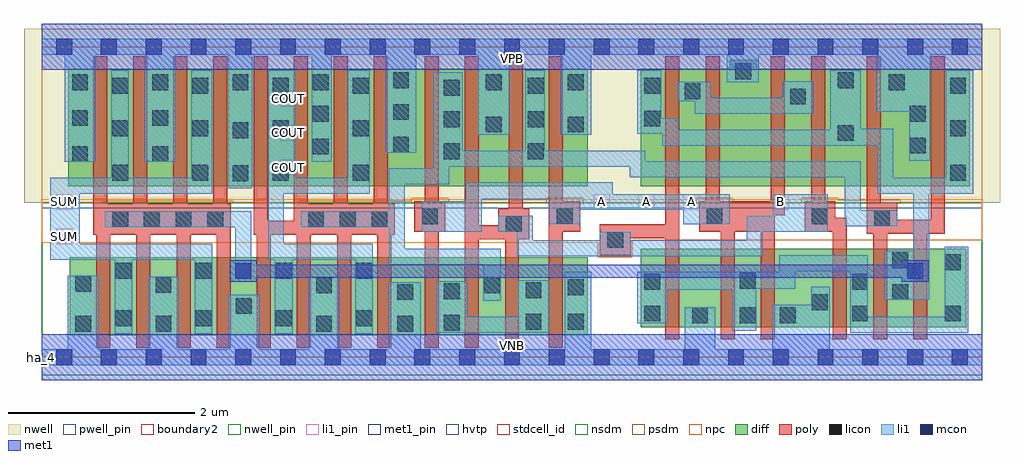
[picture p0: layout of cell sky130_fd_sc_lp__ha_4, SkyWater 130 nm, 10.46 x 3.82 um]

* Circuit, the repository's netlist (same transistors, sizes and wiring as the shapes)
* Copyright 2020 The SkyWater PDK Authors
*
* Licensed under the Apache License, Version 2.0 (the "License");
* you may not use this file except in compliance with the License.
* You may obtain a copy of the License at
*
*     https://www.apache.org/licenses/LICENSE-2.0
*
* Unless required by applicable law or agreed to in writing, software
* distributed under the License is distributed on an "AS IS" BASIS,
* WITHOUT WARRANTIES OR CONDITIONS OF ANY KIND, either express or implied.
* See the License for the specific language governing permissions and
* limitations under the License.
*
* SPDX-License-Identifier: Apache-2.0

.SUBCKT sky130_fd_sc_lp__ha_4 A B VGND VNB VPB VPWR COUT SUM
*.PININFO A:I B:I VGND:I VNB:I VPB:I VPWR:I COUT:O SUM:O
MMIN2 COUT majb VGND VNB sky130_fd_pr__nfet_01v8 m=4 w=0.84U l=0.15U mult=1 sa=0.265
+ sb=0.265 sd=0.28 area=0.063 perim=1.14
MMIN3 SUM sumb VGND VNB sky130_fd_pr__nfet_01v8 m=4 w=0.84U l=0.15U mult=1 sa=0.265
+ sb=0.265 sd=0.28 area=0.063 perim=1.14
MMNnand0 VGND A sndNA VNB sky130_fd_pr__nfet_01v8 m=2 w=0.84U l=0.15U mult=1 sa=0.265
+ sb=0.265 sd=0.28 area=0.063 perim=1.14
MMNnand1 sndNA B majb VNB sky130_fd_pr__nfet_01v8 m=2 w=0.84U l=0.15U mult=1 sa=0.265
+ sb=0.265 sd=0.28 area=0.063 perim=1.14
MMNs1 sumb majb nint1 VNB sky130_fd_pr__nfet_01v8 m=2 w=0.84U l=0.15U mult=1 sa=0.265
+ sb=0.265 sd=0.28 area=0.063 perim=1.14
MMNs20 VGND A nint1 VNB sky130_fd_pr__nfet_01v8 m=2 w=0.84U l=0.15U mult=1 sa=0.265
+ sb=0.265 sd=0.28 area=0.063 perim=1.14
MMNs21 VGND B nint1 VNB sky130_fd_pr__nfet_01v8 m=2 w=0.84U l=0.15U mult=1 sa=0.265
+ sb=0.265 sd=0.28 area=0.063 perim=1.14
MMIP2 COUT majb VPWR VPB sky130_fd_pr__pfet_01v8_hvt m=4 w=1.26U l=0.15U mult=1
+ sa=0.265 sb=0.265 sd=0.28 area=0.063 perim=1.14
MMIP3 SUM sumb VPWR VPB sky130_fd_pr__pfet_01v8_hvt m=4 w=1.26U l=0.15U mult=1
+ sa=0.265 sb=0.265 sd=0.28 area=0.063 perim=1.14
MMPnand0 majb A VPWR VPB sky130_fd_pr__pfet_01v8_hvt m=2 w=1.26U l=0.15U mult=1
+ sa=0.265 sb=0.265 sd=0.28 area=0.063 perim=1.14
MMPnand1 majb B VPWR VPB sky130_fd_pr__pfet_01v8_hvt m=2 w=1.26U l=0.15U mult=1
+ sa=0.265 sb=0.265 sd=0.28 area=0.063 perim=1.14
MMPs1 VPWR majb sumb VPB sky130_fd_pr__pfet_01v8_hvt m=2 w=1.26U l=0.15U mult=1
+ sa=0.265 sb=0.265 sd=0.28 area=0.063 perim=1.14
MMPs20 VPWR A sndPA VPB sky130_fd_pr__pfet_01v8_hvt m=2 w=1.26U l=0.15U mult=1
+ sa=0.265 sb=0.265 sd=0.28 area=0.063 perim=1.14
MMPs21 sndPA B sumb VPB sky130_fd_pr__pfet_01v8_hvt m=2 w=1.26U l=0.15U mult=1
+ sa=0.265 sb=0.265 sd=0.28 area=0.063 perim=1.14
.ENDS sky130_fd_sc_lp__ha_4

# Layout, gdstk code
import gdstk
lib = gdstk.Library(unit=1e-6, precision=1e-09)
def R(c, l, rs):  # rectangles x0, y0, x1, y1
    for r in rs: c.add(gdstk.rectangle(r[:2], r[2:], *l))
def A(c, l, x, y, w, h, nx, ny, dx, dy):  # array of equal rectangles
    R(c, l, [(x+i*dx, y+j*dy, x+i*dx+w, y+j*dy+h) for i in range(nx) for j in range(ny)])
def P(c, l, *ps):  # polygons
    for p in ps: c.add(gdstk.Polygon(p, *l))
nwell_pin = (64, 16)
nwell = (64, 20)
diff = (65, 20)
poly = (66, 20)
licon = (66, 44)
li1_pin = (67, 16)
li1 = (67, 20)
mcon = (67, 44)
met1_pin = (68, 16)
met1 = (68, 20)
hvtp = (78, 44)
stdcell_id = (81, 4)
nsdm = (93, 44)
psdm = (94, 20)
npc = (95, 20)
pwell_pin = (122, 16)
boundary2 = (236, 0)

sky130_fd_sc_lp__ha_4 = lib.new_cell('sky130_fd_sc_lp__ha_4')
R(sky130_fd_sc_lp__ha_4, nwell_pin, [(0,3.085,10.08,3.33)])
R(sky130_fd_sc_lp__ha_4, nwell, [(-0.19,1.655,10.27,3.52)])
R(sky130_fd_sc_lp__ha_4, diff, [(0.3,0.235,5.85,1.075), (6.42,0.325,9.91,1.165), (0.285,1.835,5.85,3.095)])
P(sky130_fd_sc_lp__ha_4, diff, [(9.945,3.095),(7.665,3.095),(7.665,3.19),(7.375,3.19),(7.375,3.095),(6.42,3.095),(6.42,1.835),(9.945,1.835)])
P(sky130_fd_sc_lp__ha_4, poly, [(2.025,1.645),(1.99,1.645),(1.99,3.225),(1.84,3.225),(1.84,1.645),(1.56,1.645),(1.56,3.225),(1.41,3.225),(1.41,1.645),(1.13,1.645),(1.13,3.225),(0.98,3.225),(0.98,1.645),(0.7,1.645),(0.7,3.225),(0.55,3.225),(0.55,1.315),(0.585,1.315),(0.585,0.105),(0.735,0.105),(0.735,1.315),(1.015,1.315),(1.015,0.105),(1.165,0.105),(1.165,1.315),(1.445,1.315),(1.445,0.105),(1.595,0.105),(1.595,1.315),(1.875,1.315),(1.875,0.105),(2.025,0.105)],
  [(3.785,1.645),(3.71,1.645),(3.71,3.225),(3.56,3.225),(3.56,1.645),(3.28,1.645),(3.28,3.225),(3.13,3.225),(3.13,1.645),(2.85,1.645),(2.85,3.225),(2.7,3.225),(2.7,1.465),(2.42,1.465),(2.42,3.225),(2.27,3.225),(2.27,1.315),(2.305,1.315),(2.305,0.105),(2.455,0.105),(2.455,1.315),(2.735,1.315),(2.735,0.105),(2.885,0.105),(2.885,1.315),(3.165,1.315),(3.165,0.105),(3.315,0.105),(3.315,1.315),(3.595,1.315),(3.595,0.105),(3.745,0.105),(3.745,1.315),(3.785,1.315)],
  [(4.325,1.675),(4.255,1.675),(4.255,3.225),(4.105,3.225),(4.105,1.675),(3.995,1.675),(3.995,1.345),(4.105,1.345),(4.105,0.105),(4.255,0.105),(4.255,1.345),(4.325,1.345)],
  [(5.225,1.595),(5.155,1.595),(5.155,3.225),(5.005,3.225),(5.005,1.595),(4.895,1.595),(4.895,1.415),(4.685,1.415),(4.685,3.225),(4.535,3.225),(4.535,0.105),(4.685,0.105),(4.685,1.265),(4.965,1.265),(4.965,0.105),(5.115,0.105),(5.115,1.265),(5.225,1.265)],
  [(5.77,1.675),(5.585,1.675),(5.585,3.225),(5.435,3.225),(5.435,0.105),(5.585,0.105),(5.585,1.345),(5.77,1.345)],
  [(6.835,3.225),(6.685,3.225),(6.685,1.425),(5.98,1.425),(5.98,1.095),(6.31,1.095),(6.31,1.275),(6.685,1.275),(6.685,0.195),(6.835,0.195)],
  [(7.965,3.225),(7.815,3.225),(7.815,1.675),(7.265,1.675),(7.265,3.225),(7.115,3.225),(7.115,1.675),(7.045,1.675),(7.045,1.345),(7.275,1.345),(7.275,0.195),(7.425,0.195),(7.425,1.345),(7.705,1.345),(7.705,0.195),(7.855,0.195),(7.855,1.525),(7.965,1.525)],
  [(8.63,1.495),(8.505,1.495),(8.505,1.675),(8.395,1.675),(8.395,3.225),(8.245,3.225),(8.245,1.675),(8.175,1.675),(8.175,1.345),(8.48,1.345),(8.48,0.195),(8.63,0.195)],
  [(9.68,3.225),(9.53,3.225),(9.53,1.475),(9.17,1.475),(9.17,1.655),(8.99,1.655),(8.99,3.225),(8.84,3.225),(8.84,1.325),(8.91,1.325),(8.91,0.195),(9.06,0.195),(9.06,1.325),(9.34,1.325),(9.34,0.195),(9.49,0.195),(9.49,1.325),(9.68,1.325)])
A(sky130_fd_sc_lp__ha_4, licon, 0.79, 0.335, 0.17, 0.17, 4, 2, 0.86, 0.51)
A(sky130_fd_sc_lp__ha_4, licon, 0.755, 1.395, 0.17, 0.17, 4, 1, 0.34, 0)
A(sky130_fd_sc_lp__ha_4, licon, 2.855, 1.395, 0.17, 0.17, 3, 1, 0.34, 0)
A(sky130_fd_sc_lp__ha_4, licon, 0.755, 1.895, 0.17, 0.17, 4, 2, 0.86, 0.475)
A(sky130_fd_sc_lp__ha_4, licon, 4.31, 2.125, 0.17, 0.17, 1, 3, 0, 0.34)
A(sky130_fd_sc_lp__ha_4, licon, 0.755, 2.825, 0.17, 0.17, 4, 1, 0.86, 0)
A(sky130_fd_sc_lp__ha_4, licon, 0.325, 2.865, 0.17, 0.17, 4, 1, 0.86, 0)
R(sky130_fd_sc_lp__ha_4, licon, [(0.36,0.275,0.53,0.445), (1.22,0.275,1.39,0.445), (2.94,0.275,3.11,0.445), (3.81,0.275,3.98,0.445), (4.31,0.285,4.48,0.455), (5.185,0.295,5.355,0.465), (5.64,0.295,5.81,0.465), (6.97,0.365,7.14,0.535), (7.48,0.365,7.65,0.535), (7.91,0.365,8.08,0.535), (6.46,0.385,6.63,0.555), (8.685,0.385,8.855,0.555), (9.68,0.385,9.85,0.555), (2.08,0.465,2.25,0.635), (8.255,0.505,8.425,0.675), (3.81,0.615,3.98,0.785), (9.115,0.615,9.285,0.785), (4.31,0.625,4.48,0.795), (5.185,0.635,5.355,0.805), (5.64,0.665,5.81,0.835), (2.94,0.685,3.11,0.855), (4.74,0.685,4.91,0.855), (1.22,0.69,1.39,0.86), (0.36,0.705,0.53,0.875), (6.46,0.725,6.63,0.895), (8.685,0.725,8.855,0.895), (7.48,0.735,7.65,0.905), (9.68,0.935,9.85,1.105), (9.115,0.955,9.285,1.125), (6.06,1.175,6.23,1.345), (4.975,1.345,5.145,1.515), (8.92,1.405,9.09,1.575), (4.075,1.425,4.245,1.595), (5.52,1.425,5.69,1.595), (7.125,1.425,7.295,1.595), (8.255,1.425,8.425,1.595), (2.045,1.89,2.215,2.06), (9.735,1.895,9.905,2.065), (0.325,2.095,0.495,2.265), (1.185,2.095,1.355,2.265), (5.21,2.125,5.38,2.295), (2.905,2.175,3.075,2.345), (9.305,2.185,9.475,2.355), (3.765,2.195,3.935,2.365), (8.53,2.32,8.7,2.49), (2.045,2.35,2.215,2.52), (9.735,2.37,9.905,2.54), (4.76,2.41,4.93,2.58), (5.64,2.41,5.81,2.58), (5.21,2.465,5.38,2.635), (6.46,2.475,6.63,2.645), (0.325,2.48,0.495,2.65), (1.185,2.48,1.355,2.65), (2.905,2.525,3.075,2.695), (9.305,2.525,9.475,2.695), (3.765,2.545,3.935,2.715), (8.02,2.71,8.19,2.88), (6.89,2.765,7.06,2.935), (5.21,2.825,5.38,2.995), (6.46,2.825,6.63,2.995), (9.735,2.825,9.905,2.995), (4.76,2.865,4.93,3.035), (5.64,2.865,5.81,3.035), (9.08,2.865,9.25,3.035), (3.765,2.885,3.935,3.055), (8.53,2.885,8.7,3.055), (7.435,2.98,7.605,3.15)])
A(sky130_fd_sc_lp__ha_4, li1_pin, 5.915, 1.58, 0.17, 0.17, 3, 1, 0.48, 0)
A(sky130_fd_sc_lp__ha_4, li1_pin, 2.555, 1.95, 0.17, 0.17, 1, 3, 0, 0.37)
R(sky130_fd_sc_lp__ha_4, li1_pin, [(0.155,1.21,0.325,1.38), (0.155,1.58,0.325,1.75), (7.835,1.58,8.005,1.75)])
P(sky130_fd_sc_lp__ha_4, li1, [(1.83,1.215),(0.405,1.215),(0.405,1.755),(1.83,1.755),(1.83,3.075),(1.605,3.075),(1.605,1.925),(0.935,1.925),(0.935,3.075),(0.745,3.075),(0.745,1.925),(0.09,1.925),(0.09,1.045),(0.78,1.045),(0.78,0.255),(0.97,0.255),(0.97,1.045),(1.64,1.045),(1.64,0.255),(1.83,0.255)],
  [(2.245,1.565),(0.675,1.565),(0.675,1.395),(2.075,1.395),(2.075,0.84),(2.245,0.84)],
  [(3.55,1.215),(2.595,1.215),(2.595,1.755),(3.515,1.755),(3.515,3.075),(3.28,3.075),(3.28,1.925),(2.725,1.925),(2.725,3.075),(2.425,3.075),(2.425,1.045),(2.5,1.045),(2.5,0.255),(2.69,0.255),(2.69,1.045),(3.36,1.045),(3.36,0.255),(3.55,0.255)],
  [(5.435,0.825),(5.105,0.825),(5.105,0.435),(4.56,0.435),(4.56,0.815),(4.23,0.815),(4.23,0.265),(5.435,0.265)],
  [(7.375,1.75),(6.12,1.75),(6.12,1.875),(4.545,1.875),(4.545,1.675),(4.075,1.675),(4.075,1.345),(4.715,1.345),(4.715,1.695),(5.44,1.695),(5.44,1.425),(5.77,1.425),(5.77,1.58),(6.875,1.58),(6.875,1.425),(7.375,1.425)],
  [(8.27,2.96),(7.94,2.96),(7.94,2.78),(7.17,2.78),(7.17,2.955),(6.81,2.955),(6.81,2.745),(7,2.745),(7,2.61),(8.27,2.61)],
  [(8.425,1.75),(7.835,1.75),(7.835,1.515),(7.555,1.515),(7.555,1.255),(6.31,1.255),(6.31,1.345),(5.98,1.345),(5.98,1.255),(5.26,1.255),(5.26,1.515),(4.895,1.515),(4.895,1.345),(5.09,1.345),(5.09,1.085),(7.725,1.085),(7.725,1.345),(8.425,1.345)],
  [(9.17,1.575),(8.775,1.575),(8.775,2.1),(6.47,2.1),(6.47,2.215),(5.39,2.215),(5.39,3.075),(5.18,3.075),(5.18,2.215),(4.51,2.215),(4.51,3.055),(4.195,3.055),(4.195,2.025),(3.72,2.025),(3.72,1.565),(2.775,1.565),(2.775,1.395),(3.72,1.395),(3.72,0.995),(4.73,0.995),(4.73,0.605),(4.92,0.605),(4.92,1.165),(3.89,1.165),(3.89,1.855),(4.365,1.855),(4.365,2.045),(6.3,2.045),(6.3,1.93),(8.605,1.93),(8.605,1.405),(9.17,1.405)],
  [(9.93,1.185),(9.68,1.185),(9.68,0.435),(8.855,0.435),(8.855,1.095),(7.905,1.095),(7.905,0.915),(6.38,0.915),(6.38,0.365),(6.71,0.365),(6.71,0.725),(7.4,0.725),(7.4,0.285),(7.66,0.285),(7.66,0.735),(8.075,0.735),(8.075,0.925),(8.665,0.925),(8.665,0.265),(9.93,0.265)],
  [(9.985,3.075),(9.69,3.075),(9.69,1.925),(9.125,1.925),(9.125,2.45),(8.78,2.45),(8.78,3.075),(8.45,3.075),(8.45,2.44),(6.82,2.44),(6.82,2.565),(6.64,2.565),(6.64,3.075),(6.38,3.075),(6.38,2.395),(6.65,2.395),(6.65,2.27),(8.955,2.27),(8.955,1.755),(9.34,1.755),(9.34,1.145),(9.035,1.145),(9.035,0.615),(9.51,0.615),(9.51,1.755),(9.985,1.755)],
  [(10.08,3.415),(0,3.415),(0,3.245),(0.245,3.245),(0.245,2.095),(0.575,2.095),(0.575,3.245),(1.105,3.245),(1.105,2.095),(1.435,2.095),(1.435,3.245),(2,3.245),(2,1.81),(2.255,1.81),(2.255,3.245),(2.895,3.245),(2.895,2.095),(3.11,2.095),(3.11,3.245),(3.685,3.245),(3.685,2.195),(4.015,2.195),(4.015,3.245),(4.68,3.245),(4.68,2.385),(5.01,2.385),(5.01,3.245),(5.56,3.245),(5.56,2.385),(5.89,2.385),(5.89,3.245),(7.34,3.245),(7.34,2.95),(7.685,2.95),(7.685,3.245),(8.95,3.245),(8.95,2.63),(9.295,2.63),(9.295,2.105),(9.52,2.105),(9.52,3.245),(10.08,3.245)],
  [(10.08,0.085),(8.445,0.085),(8.445,0.755),(8.245,0.755),(8.245,0.565),(7.83,0.565),(7.83,0.085),(7.22,0.085),(7.22,0.535),(6.89,0.535),(6.89,0.085),(5.89,0.085),(5.89,0.915),(5.605,0.915),(5.605,0.085),(4.06,0.085),(4.06,0.805),(3.72,0.805),(3.72,0.085),(3.19,0.085),(3.19,0.865),(2.86,0.865),(2.86,0.085),(2.33,0.085),(2.33,0.67),(2,0.67),(2,0.085),(1.47,0.085),(1.47,0.865),(1.14,0.865),(1.14,0.085),(0.61,0.085),(0.61,0.875),(0.28,0.875),(0.28,0.085),(0,0.085),(0,-0.085),(10.08,-0.085)])
A(sky130_fd_sc_lp__ha_4, mcon, 0.155, -0.085, 0.17, 0.17, 21, 2, 0.48, 3.33)
R(sky130_fd_sc_lp__ha_4, mcon, [(2.075,0.84,2.245,1.01), (9.275,0.84,9.445,1.01)])
R(sky130_fd_sc_lp__ha_4, met1_pin, [(0,0,10.08,0.245), (0,3.085,10.08,3.33)])
R(sky130_fd_sc_lp__ha_4, met1, [(0,-0.245,10.08,0.245), (0,3.085,10.08,3.575)])
P(sky130_fd_sc_lp__ha_4, met1, [(9.505,1.04),(9.215,1.04),(9.215,0.995),(2.305,0.995),(2.305,1.04),(2.015,1.04),(2.015,0.81),(2.305,0.81),(2.305,0.855),(9.215,0.855),(9.215,0.81),(9.505,0.81)])
R(sky130_fd_sc_lp__ha_4, hvtp, [(0,1.6,10.08,3.33)])
R(sky130_fd_sc_lp__ha_4, stdcell_id, [(0,0,10.08,3.33)])
R(sky130_fd_sc_lp__ha_4, nsdm, [(0,-0.19,10.08,1.655)])
P(sky130_fd_sc_lp__ha_4, psdm, [(10.08,3.52),(0,3.52),(0,1.655),(0.645,1.655),(0.645,1.675),(2.055,1.675),(2.055,1.655),(2.745,1.655),(2.745,1.675),(3.965,1.675),(3.965,1.705),(4.355,1.705),(4.355,1.655),(5.41,1.655),(5.41,1.705),(5.8,1.705),(5.8,1.655),(7.015,1.655),(7.015,1.705),(7.405,1.705),(7.405,1.655),(8.145,1.655),(8.145,1.705),(8.535,1.705),(8.535,1.685),(9.2,1.685),(9.2,1.655),(10.08,1.655)])
P(sky130_fd_sc_lp__ha_4, npc, [(10.08,1.695),(0,1.695),(0,1.23),(5.96,1.23),(5.96,1.075),(6.33,1.075),(6.33,1.255),(10.08,1.255)])
R(sky130_fd_sc_lp__ha_4, pwell_pin, [(0,0,10.08,0.245)])
R(sky130_fd_sc_lp__ha_4, boundary2, [(0,0,10.08,3.33)])
sky130_fd_sc_lp__ha_4.add(gdstk.Label('VNB', (5.04,0.123), layer=64, texttype=59))
sky130_fd_sc_lp__ha_4.add(gdstk.Label('VPB', (5.04,3.208), layer=64, texttype=5))
sky130_fd_sc_lp__ha_4.add(gdstk.Label('ha_4', (0,0), layer=83, texttype=44))
sky130_fd_sc_lp__ha_4.add(gdstk.Label('VPWR', (5.04,3.208), layer=68, texttype=5))
sky130_fd_sc_lp__ha_4.add(gdstk.Label('VGND', (5.04,0.123), layer=68, texttype=5))
sky130_fd_sc_lp__ha_4.add(gdstk.Label('COUT', (2.64,2.035), layer=67, texttype=5))
sky130_fd_sc_lp__ha_4.add(gdstk.Label('COUT', (2.64,2.405), layer=67, texttype=5))
sky130_fd_sc_lp__ha_4.add(gdstk.Label('COUT', (2.64,2.775), layer=67, texttype=5))
sky130_fd_sc_lp__ha_4.add(gdstk.Label('SUM', (0.24,1.295), layer=67, texttype=5))
sky130_fd_sc_lp__ha_4.add(gdstk.Label('SUM', (0.24,1.665), layer=67, texttype=5))
sky130_fd_sc_lp__ha_4.add(gdstk.Label('A', (6.96,1.665), layer=67, texttype=5))
sky130_fd_sc_lp__ha_4.add(gdstk.Label('B', (7.92,1.665), layer=67, texttype=5))
sky130_fd_sc_lp__ha_4.add(gdstk.Label('A', (6.48,1.665), layer=67, texttype=5))
sky130_fd_sc_lp__ha_4.add(gdstk.Label('A', (6,1.665), layer=67, texttype=5))

lib.write_gds('sky130_fd_sc_lp__ha_4.gds')
